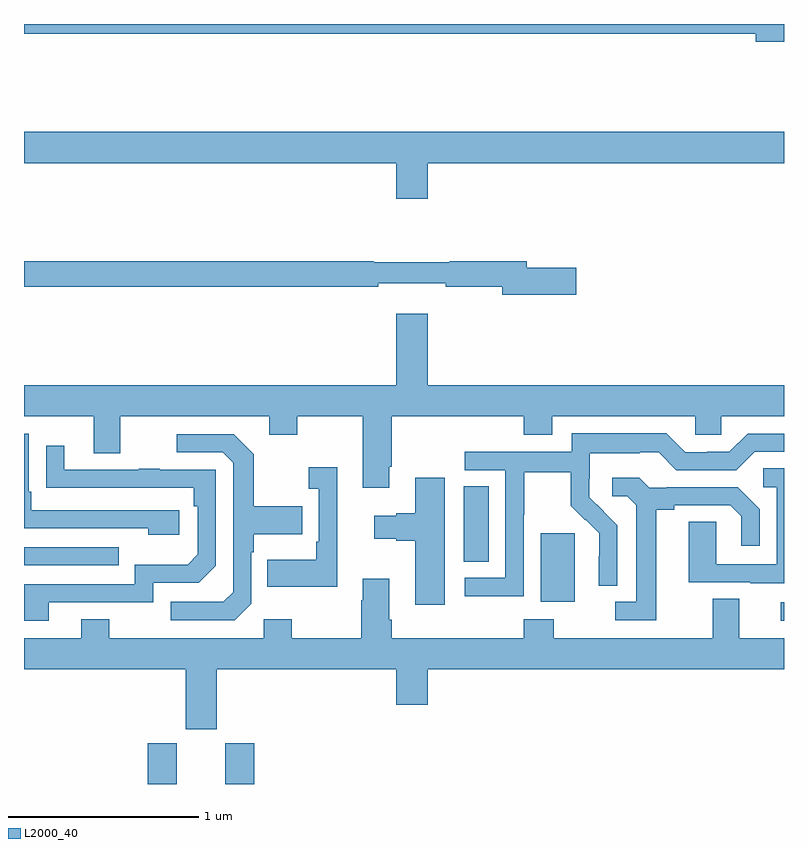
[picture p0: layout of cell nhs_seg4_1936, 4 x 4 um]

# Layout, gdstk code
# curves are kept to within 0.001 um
import gdstk
lib = gdstk.Library(unit=1e-6, precision=1e-09)
def R(c, l, rs):  # rectangles x0, y0, x1, y1
    for r in rs: c.add(gdstk.rectangle(r[:2], r[2:], *l))
def P(c, l, *ps):  # polygons
    for p in ps: c.add(gdstk.Polygon(p, *l))
L2000_40 = (2000, 40)

nhs_seg4_1936 = lib.new_cell('nhs_seg4_1936')
R(nhs_seg4_1936, L2000_40, [(211.652,778.9,211.804,779.115), (212.06,778.9,212.213,779.115), (214.983,779.76,215,779.856), (213.719,779.858,213.898,780.219), (211,780.051,211.499,780.147), (213.314,780.07,213.445,780.467)])
P(nhs_seg4_1936, L2000_40, [(215,782.9),(211,782.9),(211,782.848),(214.85,782.848),(214.85,782.806),(215,782.806)],
  [(213.124,782.168),(215,782.168),(215,782.332),(211,782.332),(211,782.168),(212.96,782.168),(212.96,781.98),(213.124,781.98)],
  [(213.907,781.616),(213.646,781.616),(213.646,781.652),(213.242,781.652),(213.242,781.645),(212.842,781.645),(212.842,781.652),(211,781.652),(211,781.516),(212.864,781.516),(212.864,781.535),(213.22,781.535),(213.22,781.516),(213.518,781.516),(213.518,781.474),(213.907,781.474)],
  [(212.923,780.571),(212.936,780.571),(212.936,780.836),(213.629,780.836),(213.629,780.737),(213.781,780.737),(213.781,780.836),(214.533,780.836),(214.533,780.738),(214.671,780.738),(214.671,780.836),(215,780.836),(215,781),(213.124,781),(213.124,781.375),(212.96,781.375),(212.96,781),(211,781),(211,780.836),(211.367,780.836),(211.367,780.642),(211.507,780.642),(211.507,780.836),(212.291,780.836),(212.291,780.737),(212.439,780.737),(212.439,780.836),(212.783,780.836),(212.783,780.459),(212.923,780.459)],
  [(213.63,780.316),(213.633,780.316),(213.633,780.54),(213.877,780.54),(213.877,780.365),(213.954,780.288),(213.957,780.291),(214.028,780.221),(214.028,780.098),(214.026,780.098),(214.026,779.944),(214.122,779.944),(214.122,780.262),(213.976,780.41),(213.976,780.507),(213.978,780.507),(213.978,780.641),(214.241,780.641),(214.241,780.645),(214.341,780.645),(214.434,780.552),(214.749,780.552),(214.845,780.648),(215,780.648),(215,780.744),(214.809,780.744),(214.713,780.648),(214.595,780.648),(214.595,780.645),(214.479,780.645),(214.379,780.745),(213.882,780.745),(213.882,780.648),(213.321,780.648),(213.321,780.552),(213.534,780.552),(213.534,779.985),(213.321,779.985),(213.321,779.887),(213.63,779.887)],
  [(211.816,780.342),(211.039,780.342),(211.039,780.439),(211.026,780.439),(211.026,780.744),(211,780.744),(211,780.246),(211.655,780.246),(211.655,780.212),(211.816,780.212)],
  [(212.196,779.85),(212.196,780.119),(212.209,780.119),(212.209,780.215),(212.465,780.215),(212.465,780.363),(212.209,780.363),(212.209,780.635),(212.103,780.741),(211.803,780.741),(211.803,780.645),(212.046,780.645),(212.1,780.591),(212.1,779.91),(212.049,779.859),(211.773,779.859),(211.773,779.763),(212.109,779.763)],
  [(211.129,779.856),(211.68,779.856),(211.68,779.958),(211.92,779.958),(212.01,780.048),(212.01,780.555),(211.715,780.555),(211.715,780.56),(211.603,780.56),(211.603,780.555),(211.213,780.555),(211.213,780.679),(211.117,780.679),(211.117,780.46),(211.894,780.459),(211.894,780.362),(211.914,780.362),(211.914,780.108),(211.861,780.055),(211.584,780.055),(211.584,779.952),(211,779.952),(211,779.76),(211.129,779.76)],
  [(212.648,780.568),(212.499,780.568),(212.499,780.455),(212.55,780.455),(212.55,780.175),(212.538,780.175),(212.538,780.079),(212.281,780.079),(212.281,779.939),(212.648,779.939)],
  [(215,780.563),(214.89,780.563),(214.89,780.462),(214.962,780.462),(214.962,780.057),(214.644,780.057),(214.644,780.281),(214.499,780.281),(214.499,779.961),(214.823,779.961),(214.823,779.957),(215,779.957)],
  [(213.214,780.511),(213.059,780.511),(213.059,780.326),(212.96,780.326),(212.96,780.313),(212.844,780.313),(212.844,780.191),(212.96,780.191),(212.96,780.179),(213.059,780.179),(213.059,779.844),(213.214,779.844)],
  [(214.327,780.344),(214.423,780.344),(214.423,780.366),(214.718,780.366),(214.775,780.309),(214.775,780.153),(214.872,780.153),(214.872,780.346),(214.756,780.462),(214.384,780.462),(214.384,780.459),(214.29,780.459),(214.238,780.511),(214.095,780.511),(214.095,780.414),(214.176,780.414),(214.223,780.367),(214.223,779.859),(214.113,779.859),(214.113,779.763),(214.327,779.763)],
  [(212.014,779.504),(212.96,779.504),(212.96,779.316),(213.124,779.316),(213.124,779.504),(215,779.504),(215,779.668),(214.765,779.668),(214.765,779.876),(214.625,779.876),(214.625,779.668),(213.789,779.668),(213.789,779.767),(213.629,779.767),(213.629,779.668),(212.936,779.668),(212.936,779.764),(212.923,779.764),(212.923,779.98),(212.783,779.98),(212.783,779.867),(212.776,779.867),(212.776,779.668),(212.409,779.668),(212.409,779.767),(212.262,779.767),(212.262,779.668),(211.449,779.668),(211.449,779.767),(211.301,779.767),(211.301,779.668),(211,779.668),(211,779.504),(211.85,779.504),(211.85,779.187),(212.014,779.187)])

lib.write_gds('nhs_seg4_1936.gds')
